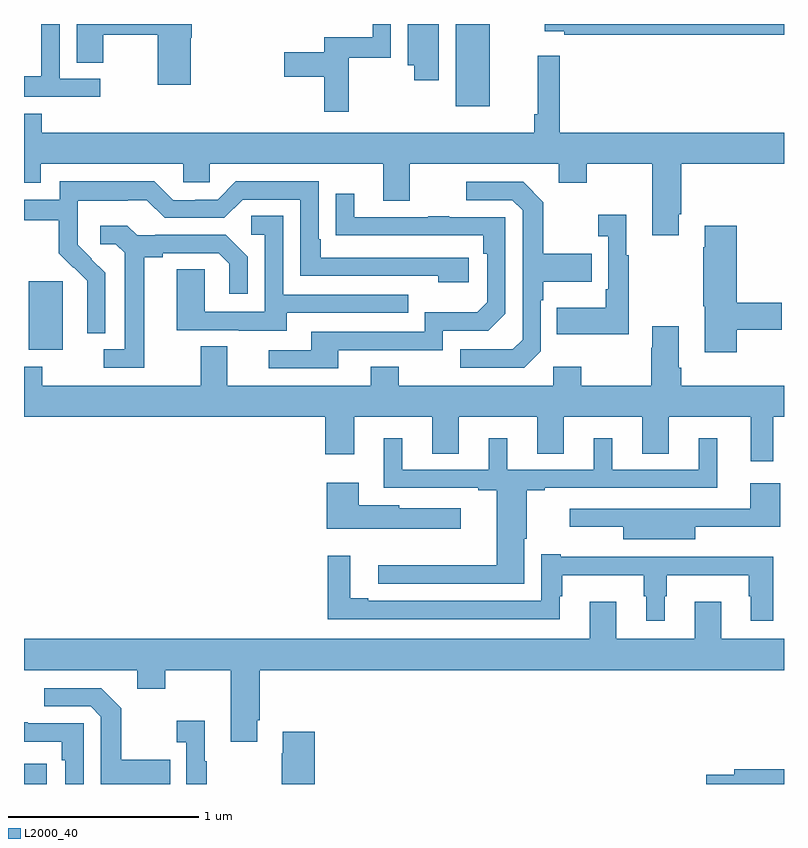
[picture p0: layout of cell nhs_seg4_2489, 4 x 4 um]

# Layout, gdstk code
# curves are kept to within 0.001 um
import gdstk
lib = gdstk.Library(unit=1e-6, precision=1e-09)
def R(c, l, rs):  # rectangles x0, y0, x1, y1
    for r in rs: c.add(gdstk.rectangle(r[:2], r[2:], *l))
def P(c, l, *ps):  # polygons
    for p in ps: c.add(gdstk.Polygon(p, *l))
L2000_40 = (2000, 40)

nhs_seg4_2489 = lib.new_cell('nhs_seg4_2489')
R(nhs_seg4_2489, L2000_40, [(241,782.9,241.12,783.006), (241.025,785.186,241.204,785.547), (243.272,786.467,243.451,786.9)])
P(nhs_seg4_2489, L2000_40, [(243.184,786.9),(243.02,786.9),(243.02,786.683),(243.055,786.683),(243.055,786.603),(243.184,786.603)],
  [(245,786.9),(243.74,786.9),(243.74,786.863),(243.844,786.863),(243.844,786.844),(245,786.844)],
  [(242.71,786.723),(242.931,786.723),(242.931,786.9),(242.835,786.9),(242.835,786.831),(242.581,786.831),(242.581,786.751),(242.37,786.751),(242.37,786.622),(242.581,786.622),(242.581,786.438),(242.71,786.438)],
  [(241.878,786.827),(241.883,786.827),(241.883,786.9),(241.277,786.9),(241.277,786.697),(241.416,786.697),(241.416,786.844),(241.705,786.844),(241.705,786.579),(241.878,786.579)],
  [(241.402,786.612),(241.188,786.612),(241.188,786.9),(241.092,786.9),(241.092,786.848),(241.09,786.848),(241.09,786.625),(241,786.625),(241,786.516),(241.402,786.516)],
  [(244.447,785.899),(244.46,785.899),(244.46,786.164),(245,786.164),(245,786.328),(243.821,786.328),(243.821,786.733),(243.703,786.733),(243.703,786.424),(243.685,786.424),(243.685,786.328),(241.094,786.328),(241.094,786.427),(241,786.427),(241,786.065),(241.087,786.065),(241.087,786.164),(241.839,786.164),(241.839,786.066),(241.977,786.066),(241.977,786.164),(242.891,786.164),(242.891,785.97),(243.031,785.97),(243.031,786.164),(243.815,786.164),(243.815,786.065),(243.963,786.065),(243.963,786.164),(244.307,786.164),(244.307,785.787),(244.447,785.787)],
  [(241.428,785.59),(241.282,785.738),(241.282,785.835),(241.284,785.835),(241.284,785.969),(241.547,785.969),(241.547,785.973),(241.647,785.973),(241.74,785.88),(242.055,785.88),(242.151,785.976),(242.454,785.976),(242.454,785.574),(243.179,785.574),(243.179,785.54),(243.34,785.54),(243.34,785.67),(242.563,785.67),(242.563,785.767),(242.55,785.767),(242.55,786.072),(242.115,786.072),(242.019,785.976),(241.901,785.976),(241.901,785.973),(241.785,785.973),(241.685,786.073),(241.188,786.073),(241.188,785.976),(241,785.976),(241,785.868),(241.183,785.868),(241.183,785.693),(241.26,785.616),(241.263,785.619),(241.334,785.549),(241.334,785.426),(241.332,785.426),(241.332,785.272),(241.428,785.272)],
  [(243.72,785.178),(243.72,785.447),(243.733,785.447),(243.733,785.543),(243.989,785.543),(243.989,785.691),(243.733,785.691),(243.733,785.963),(243.627,786.069),(243.327,786.069),(243.327,785.973),(243.57,785.973),(243.624,785.919),(243.624,785.238),(243.573,785.187),(243.297,785.187),(243.297,785.091),(243.633,785.091)],
  [(242.653,785.184),(243.204,785.184),(243.204,785.286),(243.444,785.286),(243.534,785.376),(243.534,785.883),(243.239,785.883),(243.239,785.888),(243.127,785.888),(243.127,785.883),(242.737,785.883),(242.737,786.007),(242.641,786.007),(242.641,785.788),(243.418,785.787),(243.418,785.69),(243.438,785.69),(243.438,785.436),(243.385,785.383),(243.108,785.383),(243.108,785.28),(242.513,785.28),(242.513,785.184),(242.289,785.184),(242.289,785.088),(242.653,785.088)],
  [(244.183,785.683),(244.171,785.683),(244.171,785.896),(244.023,785.896),(244.023,785.783),(244.074,785.783),(244.074,785.503),(244.062,785.503),(244.062,785.407),(243.805,785.407),(243.805,785.267),(244.183,785.267)],
  [(242.383,785.379),(243.023,785.379),(243.023,785.475),(242.364,785.475),(242.364,785.891),(242.196,785.891),(242.196,785.79),(242.268,785.79),(242.268,785.385),(241.95,785.385),(241.95,785.609),(241.805,785.609),(241.805,785.289),(242.129,785.289),(242.129,785.285),(242.383,785.285)],
  [(241.633,785.672),(241.729,785.672),(241.729,785.694),(242.024,785.694),(242.081,785.637),(242.081,785.481),(242.178,785.481),(242.178,785.674),(242.062,785.79),(241.69,785.79),(241.69,785.787),(241.596,785.787),(241.544,785.839),(241.401,785.839),(241.401,785.742),(241.482,785.742),(241.529,785.695),(241.529,785.187),(241.419,785.187),(241.419,785.091),(241.633,785.091)],
  [(244.751,785.29),(244.987,785.29),(244.987,785.432),(244.751,785.432),(244.751,785.839),(244.583,785.839),(244.583,785.726),(244.576,785.726),(244.576,785.415),(244.583,785.415),(244.583,785.172),(244.751,785.172)],
  [(244.447,785.092),(244.447,785.308),(244.307,785.308),(244.307,785.195),(244.3,785.195),(244.3,784.996),(243.933,784.996),(243.933,785.095),(243.786,785.095),(243.786,784.996),(242.973,784.996),(242.973,785.095),(242.825,785.095),(242.825,784.996),(242.071,784.996),(242.071,785.204),(241.931,785.204),(241.931,784.996),(241.095,784.996),(241.095,785.095),(241,785.095),(241,784.832),(242.585,784.832),(242.585,784.635),(242.737,784.635),(242.737,784.832),(243.149,784.832),(243.149,784.639),(243.289,784.639),(243.289,784.832),(243.701,784.832),(243.701,784.639),(243.841,784.639),(243.841,784.832),(244.253,784.832),(244.253,784.639),(244.393,784.639),(244.393,784.832),(244.826,784.832),(244.826,784.599),(244.943,784.599),(244.943,784.832),(245,784.832),(245,784.996),(244.46,784.996),(244.46,785.092)],
  [(243.634,784.191),(243.646,784.191),(243.646,784.446),(243.742,784.446),(243.742,784.458),(244.649,784.458),(244.649,784.72),(244.55,784.72),(244.55,784.554),(244.096,784.554),(244.096,784.72),(243.998,784.72),(243.998,784.554),(243.544,784.554),(243.544,784.72),(243.446,784.72),(243.446,784.554),(242.992,784.554),(242.992,784.72),(242.894,784.72),(242.894,784.458),(243.392,784.458),(243.392,784.446),(243.488,784.446),(243.488,784.052),(242.865,784.052),(242.865,783.954),(243.634,783.954)],
  [(243.298,784.351),(242.976,784.351),(242.976,784.366),(242.761,784.366),(242.761,784.486),(242.594,784.486),(242.594,784.244),(243.298,784.244)],
  [(244.534,784.253),(244.979,784.253),(244.979,784.483),(244.823,784.483),(244.823,784.35),(243.873,784.35),(243.873,784.253),(244.154,784.253),(244.154,784.187),(244.534,784.187)],
  [(244.372,783.887),(244.384,783.887),(244.384,783.998),(244.815,783.998),(244.815,783.887),(244.826,783.887),(244.826,783.759),(244.943,783.759),(244.943,784.096),(244.63,784.096),(244.63,784.095),(244.058,784.095),(244.058,784.096),(243.826,784.096),(243.826,784.108),(243.723,784.108),(243.723,783.864),(242.812,783.864),(242.812,783.877),(242.716,783.877),(242.716,784.102),(242.599,784.102),(242.599,783.768),(243.82,783.768),(243.82,783.887),(243.832,783.887),(243.832,783.998),(244.263,783.998),(244.263,783.887),(244.274,783.887),(244.274,783.759),(244.372,783.759)],
  [(242.227,783.235),(242.24,783.235),(242.24,783.5),(245,783.5),(245,783.664),(244.669,783.664),(244.669,783.859),(244.529,783.859),(244.529,783.664),(244.117,783.664),(244.117,783.859),(243.977,783.859),(243.977,783.664),(241,783.664),(241,783.5),(241.595,783.5),(241.595,783.401),(241.743,783.401),(241.743,783.5),(242.087,783.5),(242.087,783.123),(242.227,783.123)],
  [(241.769,783.027),(241.513,783.027),(241.513,783.299),(241.407,783.405),(241.107,783.405),(241.107,783.309),(241.35,783.309),(241.404,783.255),(241.404,782.9),(241.769,782.9)],
  [(241.963,783.019),(241.951,783.019),(241.951,783.232),(241.803,783.232),(241.803,783.119),(241.854,783.119),(241.854,782.9),(241.963,782.9)],
  [(241.314,783.219),(241.019,783.219),(241.019,783.224),(241,783.224),(241,783.123),(241.198,783.123),(241.198,783.026),(241.218,783.026),(241.218,782.9),(241.314,782.9)],
  [(242.531,783.175),(242.363,783.175),(242.363,783.062),(242.356,783.062),(242.356,782.9),(242.531,782.9)],
  [(245,782.978),(244.739,782.978),(244.739,782.948),(244.59,782.948),(244.59,782.9),(245,782.9)])

lib.write_gds('nhs_seg4_2489.gds')
